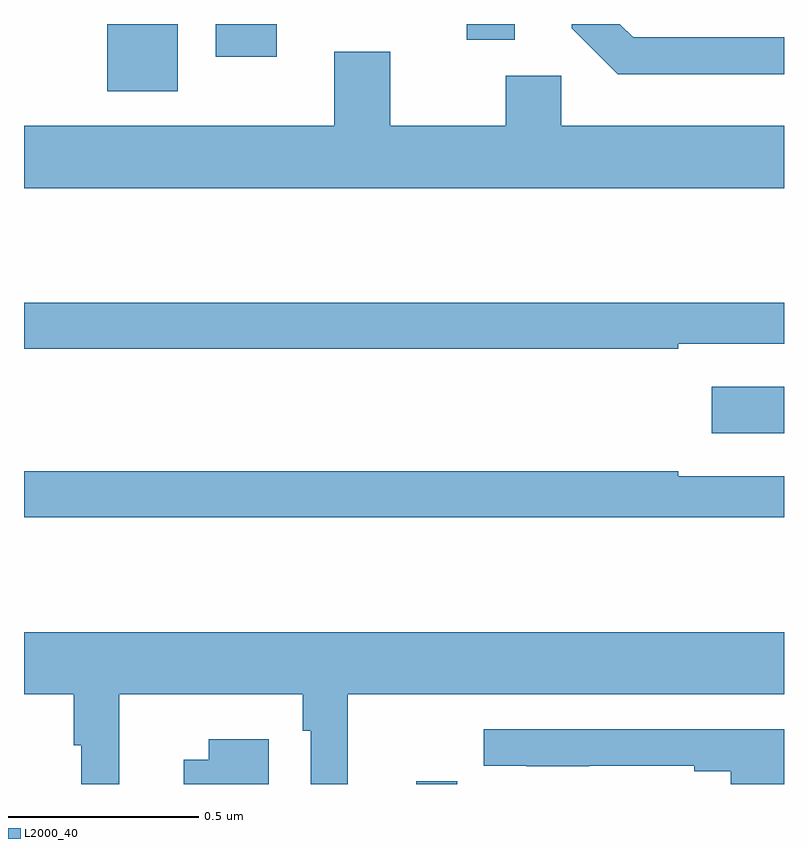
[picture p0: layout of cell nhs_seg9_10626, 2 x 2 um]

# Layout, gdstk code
import gdstk
lib = gdstk.Library(unit=1e-6, precision=1e-09)
def R(c, l, rs):  # rectangles x0, y0, x1, y1
    for r in rs: c.add(gdstk.rectangle(r[:2], r[2:], *l))
def P(c, l, *ps):  # polygons
    for p in ps: c.add(gdstk.Polygon(p, *l))
L2000_40 = (2000, 40)

nhs_seg9_10626 = lib.new_cell('nhs_seg9_10626')
R(nhs_seg9_10626, L2000_40, [(246.032,1213.5,246.14,1213.507), (246.81,1214.423,247,1214.545), (245.219,1215.323,245.404,1215.5), (245.504,1215.414,245.665,1215.5), (246.165,1215.458,246.292,1215.5)])
P(nhs_seg9_10626, L2000_40, [(247,1215.465),(246.603,1215.465),(246.568,1215.5),(246.441,1215.5),(246.441,1215.489),(246.562,1215.368),(247,1215.368)],
  [(247,1215.232),(246.414,1215.232),(246.414,1215.364),(246.268,1215.364),(246.268,1215.232),(245.964,1215.232),(245.964,1215.427),(245.816,1215.427),(245.816,1215.232),(245,1215.232),(245,1215.068),(247,1215.068)],
  [(246.722,1214.658),(247,1214.658),(247,1214.767),(245,1214.767),(245,1214.646),(246.722,1214.646)],
  [(247,1214.31),(246.722,1214.31),(246.722,1214.323),(245,1214.323),(245,1214.202),(247,1214.202)],
  [(245.25,1213.736),(245.734,1213.736),(245.734,1213.64),(245.754,1213.64),(245.754,1213.5),(245.852,1213.5),(245.852,1213.736),(247,1213.736),(247,1213.9),(245,1213.9),(245,1213.736),(245.131,1213.736),(245.131,1213.602),(245.15,1213.602),(245.15,1213.5),(245.25,1213.5)],
  [(247,1213.644),(246.21,1213.644),(246.21,1213.548),(246.322,1213.548),(246.322,1213.547),(246.488,1213.547),(246.488,1213.548),(246.764,1213.548),(246.764,1213.533),(246.86,1213.533),(246.86,1213.5),(247,1213.5)],
  [(245.644,1213.618),(245.486,1213.618),(245.486,1213.564),(245.42,1213.564),(245.42,1213.5),(245.644,1213.5)])

lib.write_gds('nhs_seg9_10626.gds')
